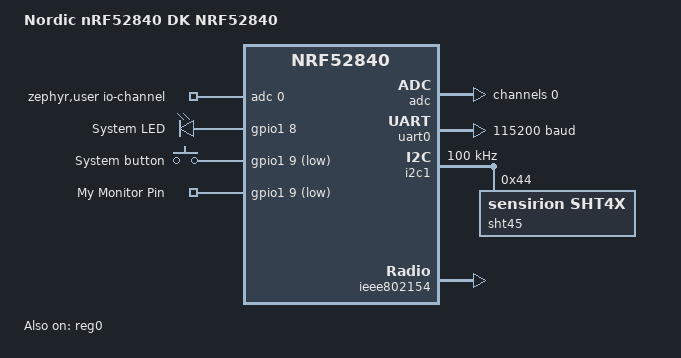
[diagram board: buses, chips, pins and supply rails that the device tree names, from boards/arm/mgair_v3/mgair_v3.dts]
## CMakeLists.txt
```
cmake_minimum_required(VERSION 3.20.0)

list(APPEND BOARD_ROOT ${CMAKE_CURRENT_SOURCE_DIR})

find_package(Zephyr)
project(mgairfw)

include_directories(src)
target_sources(app PRIVATE src/main.cpp src/bleln/BLELNBase.cpp src/bleln/BLELNBase.h src/bleln/BLELNClient.h
        src/bleln/BLELNClient.cpp src/bleln/BLELNConnCtx.cpp src/bleln/BLELNConnCtx.h
        src/bleln/BLELNServer.cpp src/bleln/BLELNServer.h
        src/Connectivity/ConnectivityConfig.h src/Connectivity/ConnectivityConfig.cpp
        src/Connectivity/ConnectivityClient.h src/Connectivity/ConnectivityClient.cpp
        src/SuperString.h src/SuperString.cpp src/bleln/BLELNAuthentication.h src/bleln/BLELNAuthentication.cpp
        src/bleln/Encryption.cpp src/bleln/Encryption.h src/bleln/BLELNCert.cpp src/bleln/BLELNCert.h
        src/bleln/BLELNSessionEnc.cpp src/bleln/BLELNSessionEnc.h src/DeviceConfig.h src/DeviceConfig.cpp src/Sht45Sensor.h
        src/Sht45Sensor.cpp)
```

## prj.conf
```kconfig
CONFIG_CPP=y
CONFIG_REQUIRES_FULL_LIBCPP=y
CONFIG_STD_CPP17=y
CONFIG_NEWLIB_LIBC=y
CONFIG_NEWLIB_LIBC_FLOAT_PRINTF=y

CONFIG_INIT_STACKS=y
CONFIG_THREAD_STACK_INFO=y
CONFIG_THREAD_MONITOR=y

CONFIG_MAIN_STACK_SIZE=8192
CONFIG_SYSTEM_WORKQUEUE_STACK_SIZE=4096
CONFIG_HEAP_MEM_POOL_SIZE=32768
CONFIG_BT_RX_STACK_SIZE=4096

CONFIG_GPIO=y

CONFIG_BOOTLOADER_MCUBOOT=y
CONFIG_MCUBOOT_SIGNATURE_KEY_FILE="root-rsa-2048.pem"

CONFIG_FLASH=y
CONFIG_FLASH_PAGE_LAYOUT=y
CONFIG_FLASH_MAP=y

CONFIG_NVS=y
CONFIG_SETTINGS=y
CONFIG_SETTINGS_NVS=y
CONFIG_SETTINGS_NONE=n

CONFIG_NORDIC_SECURITY_BACKEND=y
CONFIG_MBEDTLS_CTR_DRBG_C=y
CONFIG_MBEDTLS=y
CONFIG_MBEDTLS_ENABLE_HEAP=y
CONFIG_MBEDTLS_HEAP_SIZE=32000
CONFIG_MBEDTLS_ECDH_C=y
CONFIG_MBEDTLS_ECDSA_C=y
CONFIG_MBEDTLS_GCM_C=y
CONFIG_MBEDTLS_SHA256_C=y
CONFIG_MBEDTLS_ECP_C=y
CONFIG_MBEDTLS_ENTROPY_C=y
CONFIG_ENTROPY_GENERATOR=y
CONFIG_ENTROPY_NRF5_RNG=y
CONFIG_MBEDTLS_MAC_SHA256_ENABLED=y

CONFIG_ADC=y

CONFIG_BT=y
CONFIG_BT_ID_MAX=2
CONFIG_BT_MAX_CONN=3
CONFIG_BT_MAX_PAIRED=3
CONFIG_BT_PERIPHERAL=y
CONFIG_BT_DEVICE_NAME="NimBLE nRF52840"
CONFIG_BT_CENTRAL=y
CONFIG_BT_GATT_CLIENT=y
CONFIG_BT_SMP=y
CONFIG_BT_PRIVACY=y
CONFIG_BT_GATT_SERVICE_CHANGED=y
CONFIG_BT_GATT_AUTO_DISCOVER_CCC=y
CONFIG_BT_SETTINGS=y
CONFIG_BT_GATT_NOTIFY_MULTIPLE=y
CONFIG_BT_L2CAP_TX_BUF_COUNT=10
CONFIG_BT_L2CAP_TX_MTU=247
CONFIG_BT_BUF_ACL_RX_SIZE=251

CONFIG_INIT_STACKS=y
CONFIG_REBOOT=y

CONFIG_HW_STACK_PROTECTION=y

CONFIG_DEBUG_COREDUMP=n
CONFIG_DEBUG_COREDUMP_BACKEND_LOGGING=n
CONFIG_LOG_MODE_DEFERRED=y
CONFIG_PM=y
CONFIG_PM_DEVICE=y
CONFIG_TICKLESS_KERNEL=y

CONFIG_HWINFO=y

CONFIG_I2C=y
CONFIG_SENSOR=y
CONFIG_SHT4X=y
CONFIG_CBPRINTF_FP_SUPPORT=y
```

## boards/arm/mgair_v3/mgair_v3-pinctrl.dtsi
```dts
/*
 * Copyright (c) 2022 Nordic Semiconductor
 * SPDX-License-Identifier: Apache-2.0
 */

&pinctrl {
	i2c1_default: i2c1_default {
		group1 {
			psels = <NRF_PSEL(TWIM_SDA, 0, 11)>,
				<NRF_PSEL(TWIM_SCL, 0, 12)>;
		};
	};

	i2c1_sleep: i2c1_sleep {
		group1 {
			psels = <NRF_PSEL(TWIM_SDA, 0, 11)>,
				<NRF_PSEL(TWIM_SCL, 0, 12)>;
			low-power-enable;
		};
	};

	uart0_default: uart0_default {
		group1 {
			psels = <NRF_PSEL(UART_TX, 0, 0)>;
		};

		group2 {
			psels = <NRF_PSEL(UART_RX, 0, 1)>;
			bias-pull-up;
		};
	};

	uart0_sleep: uart0_sleep {
		group1 {
			psels = <NRF_PSEL(UART_TX, 0, 0)>,
					<NRF_PSEL(UART_RX, 0, 1)>;
			low-power-enable;
		};
	};
};
```

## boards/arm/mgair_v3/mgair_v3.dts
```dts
/dts-v1/;
#include <nordic/nrf52840_qiaa.dtsi>
#include "mgair_v3_partition.dtsi"
#include "mgair_v3-pinctrl.dtsi"
#include <zephyr/dt-bindings/input/input-event-codes.h>
#include <zephyr/dt-bindings/adc/adc.h>
#include <zephyr/dt-bindings/adc/nrf-adc.h>

/ {
	model = "Nordic nRF52840 DK NRF52840";
	compatible = "dawidkulpa,mgair_v3";

	chosen {
		zephyr,ieee802154 = &ieee802154;
		zephyr,console = &uart0;
		zephyr,shell-uart = &uart0;
		zephyr,uart-mcumgr = &uart0;
		zephyr,bt-mon-uart = &uart0;
		zephyr,bt-c2h-uart = &uart0;
	};

	zephyr,user {
		/* Mówimy: ten wirtualny użytkownik korzysta z kanału 0 w ADC */
		io-channels = <&adc 0>;
	};

	leds {
		compatible = "gpio-leds";

		led0: led_0 {
			gpios = <&gpio1 8 GPIO_ACTIVE_HIGH>;
			label = "System LED";
		};
	};

	buttons {
		compatible = "gpio-keys";

		button0: button_0 {
			gpios = <&gpio1 9 (GPIO_PULL_UP | GPIO_ACTIVE_LOW)>;
			label = "System button";
			zephyr,code = <INPUT_KEY_0>;
		};
	};

	my_inputs {
		compatible = "gpio-keys";

		pin_sensor: pin_sensor_0 {
			gpios = <&gpio1 9 (GPIO_ACTIVE_LOW | GPIO_PULL_UP)>;
			label = "My Monitor Pin";
		};
	};

	/* These aliases are provided for compatibility with samples */
	aliases {
		led0 = &led0;
		sw0 = &button0;
		mcuboot-button0 = &button0;
		mcuboot-led0 = &led0;
		watchdog0 = &wdt0;
		my-input-pin = &pin_sensor;
	};
};

&reg0 {
	status = "okay";
};

&reg1 {
	regulator-initial-mode = <NRF5X_REG_MODE_DCDC>;
};

&adc {
	status = "okay";
	#address-cells = <1>;
	#size-cells = <0>;

	channel@0 {
		reg = <0>;
		zephyr,gain = "ADC_GAIN_1_6";
		zephyr,reference = "ADC_REF_INTERNAL";
		zephyr,acquisition-time = <ADC_ACQ_TIME(ADC_ACQ_TIME_MICROSECONDS, 40)>;
		zephyr,input-positive = <NRF_SAADC_AIN3>;

		zephyr,resolution = <12>;
	};
};

&uicr {
	gpio-as-nreset;
};

&gpiote {
	status = "okay";
};

&gpio0 {
	status = "okay";
};

&gpio1 {
	status = "okay";
};

&uart0 {
	compatible = "nordic,nrf-uarte";
	status = "okay";
	current-speed = <115200>;
	pinctrl-0 = <&uart0_default>;
	pinctrl-1 = <&uart0_sleep>;
	pinctrl-names = "default", "sleep";
};

&i2c1 {
	compatible = "nordic,nrf-twim";
	status = "okay";

	clock-frequency = <I2C_BITRATE_STANDARD>;
	pinctrl-0 = <&i2c1_default>;
	pinctrl-1 = <&i2c1_sleep>;
	pinctrl-names = "default", "sleep";

	sht45: sht45@44 {
		compatible = "sensirion,sht4x";
		reg = <0x44>;
		repeatability = <2>; /* 2 = High precision */
	};
};

&ieee802154 {
	status = "okay";
};
```

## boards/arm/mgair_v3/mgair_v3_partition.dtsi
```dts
/*
 * Copyright (c) 2024 Jacob Winther
 *
 * SPDX-License-Identifier: Apache-2.0
 */

/ {
	chosen {
		zephyr,sram = &sram0;
		zephyr,flash = &flash0;
		zephyr,code-partition = &slot0_partition;
	};
};

&flash0 {
	partitions {
		compatible = "fixed-partitions";
		#address-cells = <1>;
		#size-cells = <1>;

		boot_partition: partition@0 {
			label = "mcuboot";
			reg = <0x00000000 0x0000C000>;
		};

		slot0_partition: partition@c000 {
			label = "image-0";
			reg = <0x0000C000 0x00076000>;
		};

		slot1_partition: partition@82000 {
			label = "image-1";
			reg = <0x00082000 0x00076000>;
		};

		/*
		 * Storage partition: 16KB
		 * Used by NVS (UID, Picklock)
		 * Address: 0xF8000 - 0xFC000
		 */
		storage_partition: partition@f8000 {
			label = "storage";
			reg = <0x000f8000 0x00004000>;
		};

		/*
		 * Factory Data partition: 16KB
		 * Used for RAW Read of Keys, Certs, MAC
		 * Address: 0xFC000 - End of Flash
		 */
		factory_partition: partition@fc000 {
			label = "factory-data";
			reg = <0x000fc000 0x00004000>;
			read-only; /* Zabezpieczenie przed przypadkowym zapisem przez aplikację */
		};
	};
};
```

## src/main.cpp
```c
/*
 * Copyright (c) 2016 Intel Corporation
 *
 * SPDX-License-Identifier: Apache-2.0
 *
 */

#include <cstdio>
#include <zephyr/kernel.h>
#include <zephyr/drivers/gpio.h>
#include <nrfx.h>
#include "Connectivity/ConnectivityConfig.h"
#include "Connectivity/ConnectivityClient.h"
#include "DeviceConfig.h"
#include "Sht45Sensor.h"
#include <zephyr/drivers/adc.h>
#include <zephyr/devicetree.h>
#include <zephyr/bluetooth/addr.h>
#include <zephyr/bluetooth/bluetooth.h>
#include <zephyr/settings/settings.h>
#include <zephyr/pm/device.h>

static const struct device *const uart_dev = DEVICE_DT_GET(DT_CHOSEN(zephyr_console));
static const struct gpio_dt_spec led = GPIO_DT_SPEC_GET(DT_ALIAS(led0), gpios);
static const struct adc_dt_spec adc_channel = ADC_DT_SPEC_GET(DT_PATH(zephyr_user));
static const struct gpio_dt_spec btn_pin = GPIO_DT_SPEC_GET(DT_ALIAS(my_input_pin), gpios);
static const struct device *const i2c_dev = DEVICE_DT_GET(DT_NODELABEL(i2c1));

K_SEM_DEFINE(wake_sem, 0, 1);

enum class SequenceState {MeasureBattery, MeasureAir, WaitingForBT, WaitingForAPIResponse, Finished};

static struct gpio_callback button_cb_data;

void button_pressed(const struct device *dev, struct gpio_callback *cb, uint32_t pins) {
    k_sem_give(&wake_sem);
}


void printHello();
int32_t measureBattery(struct adc_sequence &seq);
void sleepFor(uint16_t seconds);


int main(void)
{

    int err;
    int ret;

    int16_t buf;
    struct adc_sequence adcSequence = {
            .buffer = &buf,
            .buffer_size = sizeof(buf),
    };

    // Configure system LED
    if (!gpio_is_ready_dt(&led)) {
        return 0;
    }
    ret = gpio_pin_configure_dt(&led, GPIO_OUTPUT_ACTIVE);
    if (ret < 0) {
        return 0;
    }

    // Enable BLE
    bt_enable(nullptr);

    // Load devices config
    DeviceConfig::registerConfig();
    devicesConfig.loadFactoryData();
    settings_load();

    // Print Hello!
    printHello();

    // Config devices button
    if (!gpio_is_ready_dt(&btn_pin)) {
        printk("[E] main - Button port not ready\n");
        return 0;
    }
    ret = gpio_pin_configure_dt(&btn_pin, GPIO_INPUT);
    if (ret != 0) {
        printk("[E] main - Could not configure button pin\n");
        return 0;
    }

    if(gpio_pin_get_dt(&btn_pin)==1){
        printk("[W] main - Factory reset!\n");
        devicesConfig.factoryReset();
    }

    printk("Button: %d\n", gpio_pin_get_dt(&btn_pin));

    // Config ADC for battery measurement
	if (!adc_is_ready_dt(&adc_channel)) {
        printk("[E] main - ADC controller not ready\n");
        return 0;
    }
    err = adc_channel_setup_dt(&adc_channel);
    if (err < 0) {
        printk("[E] main - ADC setup failed: %d\n", err);
        return 0;
    }
    err = adc_sequence_init_dt(&adc_channel, &adcSequence);
    if (err < 0) {
        printk("[E] main - ADC sequence init failed: %d\n", err);
        return 0;
    }

    // Config wakeup interrupt
    gpio_pin_interrupt_configure_dt(&btn_pin, GPIO_INT_EDGE_TO_ACTIVE);
    gpio_init_callback(&button_cb_data, button_pressed, BIT(btn_pin.pin));
    gpio_add_callback(btn_pin.port, &button_cb_data);

    uint8_t devMode= DEVICE_MODE_NORMAL;
    if(devicesConfig.getUid()=="-1"){
        devMode= DEVICE_MODE_CONFIG;
    }

    if(devMode==DEVICE_MODE_NORMAL){
        bool sht45Works= true;
        Sht45Sensor airSensor;
        int sequenceCnt=0;
        if (!airSensor.init()) {
            sht45Works= false;
            printk("[E] main - failed sht45 init!\n");
        }

        SequenceState sequenceState;

        ConnectivityClient::init([&sequenceState](int reqId, int errc, int httpCode, const std::string &msg){
            if(sequenceState==SequenceState::WaitingForAPIResponse){
                printk("[D] main - API response: id %d, errc %d, httpc %d, body: %s\n", reqId, errc, httpCode, msg.c_str());
                sequenceState= SequenceState::Finished;
            } else {
                printk("[W] main - Received API response but not waiting for response\n");
            }
        });

        k_sleep(K_SECONDS(3));

        while(1){ // Every loop iteration is one measurement-send-sleep sequence
            sequenceCnt++;
            printk("[I] main - Starting sequence no. %d", sequenceCnt);
            gpio_pin_set_dt(&led, 1);
            sequenceState = SequenceState::MeasureBattery;
            int64_t sequenceStart= k_uptime_get();
            bool runSequence= true;

            double airHumiditySum= 0.0;
            double airTemperatureSum= 0.0;
            uint8_t airMesCnt=10;
            uint8_t airMesMaxTries= 50;

            int32_t batteryMesSum=0;
            uint8_t batteryMesCnt=10;

            k_sleep(K_MSEC(10));
            ConnectivityClient::start();
            k_sleep(K_MSEC(10));
            ConnectivityClient::startServerSearch(30000);

            while(runSequence){
                if(sequenceState== SequenceState::MeasureBattery){
                    batteryMesSum+= measureBattery(adcSequence);
                    batteryMesCnt--;
                    k_sleep(K_MSEC(20));

                    if(batteryMesCnt==0){
                        gpio_pin_set_dt(&led, 0);
                        sequenceState= SequenceState::MeasureAir;
                    }
                } else if(sequenceState== SequenceState::MeasureAir){
                    if(sht45Works){
                        double humB;
                        double tempB;
                        if(airSensor.read(tempB, humB)){
                            airHumiditySum+= humB;
                            airTemperatureSum+= tempB;
                            airMesCnt--;
                        }
                        k_sleep(K_MSEC(20));

                        airMesMaxTries--;

                        if(airMesMaxTries==0 or airMesCnt==0){
                            sequenceState= SequenceState::WaitingForBT;
                        }
                    } else {
                        sequenceState= SequenceState::WaitingForBT;
                    }
                } else if(sequenceState== SequenceState::WaitingForBT){
                    if(ConnectivityClient::isConnected()){
                        k_sleep(K_MSEC(2));
                        sequenceState= SequenceState::WaitingForAPIResponse;
                        char data[100];
                        snprintf(data, 100, R"("{"ah":%.1f,"at":%.1f,"btry":%d,"fv":%d}")",
                                 airHumiditySum/(10-airMesCnt),
                                 airTemperatureSum/(10-airMesCnt),
                                 (batteryMesSum/10)*2, fw_version);
                        ConnectivityClient::startAPITalk("device/air/post-data", 'P', data);
                    } else{
                        if((k_uptime_get()-sequenceStart) > 30000){
                            sequenceState= SequenceState::Finished;
                        }
                    }
                    k_sleep(K_MSEC(20));
                } else if(sequenceState== SequenceState::WaitingForAPIResponse){
                    if((k_uptime_get()-sequenceStart) > 40000){
                        sequenceState= SequenceState::Finished;
                    }
                    k_sleep(K_MSEC(20));
                } else if(sequenceState== SequenceState::Finished){
                    printk("[D] main - sequence finished in %llu ms\n", k_uptime_get()-sequenceStart);
                    runSequence= false;
                }
            }

            // if timeout - kill bluetooth
            ConnectivityClient::stop();


            //Go to sleep
            printk("[D] main - time to sleep...\n");
            sleepFor(20);
        }
    } else {
        ConnectivityConfig::init();
        ConnectivityConfig::start();

        while(1) {
            gpio_pin_toggle_dt(&led);
            k_sleep(K_SECONDS(3));
        }
    }
}

void printHello(){
    std::string out;
    bt_addr_le_t mac;
    size_t count = 1;
    bt_id_get(&mac, &count);

    printk("MioGiapicco Air Firmware  Copyright (C) 2026  Dawid Kulpa\n");
    printk("This program comes with ABSOLUTELY NO WARRANTY;\n");
    printk("This is free software, and you are welcome to redistribute it under certain conditions;\n");
    printk("You should have received a copy of the GNU General Public License along with this program. If not, see <http://www.gnu.org/licenses/>.\n");
    printk("Hardware code: %d, Firmware code: %d, MAC: %02X:%02X:%02X:%02X:%02X:%02X\r\n",
           hw_id, fw_version,
           mac.a.val[5], mac.a.val[4], mac.a.val[3],
           mac.a.val[2], mac.a.val[1], mac.a.val[0]);
}

int32_t measureBattery(struct adc_sequence &seq){
    int err = adc_read_dt(&adc_channel, &seq);
    int32_t val_mv;
    int16_t raw;

    if (err < 0) {
        printk("ADC read error: %d\n", err);
        val_mv= -1;
    } else {
        raw = *reinterpret_cast<int16_t*>(seq.buffer);
        val_mv= raw;

        // 6. Konwersja na mV
        err = adc_raw_to_millivolts_dt(&adc_channel, &val_mv);
        val_mv += 80;
        if (err < 0) {
            val_mv= -val_mv;
        }
    }

    return val_mv;
}

void sleepFor(uint16_t seconds){
    pm_device_action_run(uart_dev, PM_DEVICE_ACTION_SUSPEND);
    pm_device_action_run(i2c_dev, PM_DEVICE_ACTION_SUSPEND);
    k_sem_take(&wake_sem, K_SECONDS(seconds));
    pm_device_action_run(uart_dev, PM_DEVICE_ACTION_RESUME);
    pm_device_action_run(i2c_dev, PM_DEVICE_ACTION_RESUME);
}
```

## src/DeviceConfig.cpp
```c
/**
    MioGiapicco Light Firmware - Firmware for Light Device of MioGiapicco system
    Copyright (C) 2023  Dawid Kulpa

    This program is free software: you can redistribute it and/or modify
    it under the terms of the GNU General Public License as published by
    the Free Software Foundation, either version 3 of the License, or
    (at your option) any later version.

    This program is distributed in the hope that it will be useful,
    but WITHOUT ANY WARRANTY; without even the implied warranty of
    MERCHANTABILITY or FITNESS FOR A PARTICULAR PURPOSE.  See the
    GNU General Public License for more details.

    You should have received a copy of the GNU General Public License
    along with this program.  If not, see <http://www.gnu.org/licenses/>. 

    Please feel free to contact me at any time by email <dawidkulpadev@gmail.com>
*/

#include <zephyr/drivers/flash.h>
#include <algorithm>
#include <zephyr/bluetooth/addr.h>
#include <zephyr/bluetooth/bluetooth.h>
#include "DeviceConfig.h"
#include "bleln/Encryption.h"

DeviceConfig devicesConfig;


static struct settings_handler id_conf = {
        .name= DEVICECONFIG_NAMESPACE_ID,
        .h_set= DeviceConfig::id_settings_set
};

static struct settings_handler base_conf = {
        .name= DEVICECONFIG_NAMESPACE_BASE,
        .h_set= DeviceConfig::base_settings_set
};


struct __attribute__((packed)) factory_data_t {
    uint32_t magic;          // 0x4D474B50
    uint8_t  mac[6];
    uint8_t  _pad[2];
    uint8_t  manu_pub[64];
    uint8_t  dev_priv[32];
    uint8_t  dev_pub[64];
    uint8_t  signature[64];
};

DeviceConfig::DeviceConfig() {
    memset(certSign, 0, BLELN_MANU_SIGN_LEN);
    picklock= "";
    uid="-1";
    lastServerMAC="";
}

std::string DeviceConfig::getUid() const {
    return uid;
}

std::string DeviceConfig::getPicklock() {
    return picklock;
}

const uint8_t *DeviceConfig::getCertSign() const {
    return certSign;
}

void DeviceConfig::setUid(std::string v) {
    uid= std::move(v);
}

void DeviceConfig::setPicklock(std::string v) {
    picklock= std::move(v);
}

void DeviceConfig::setCertSignFromBase64(const std::string& b64) {
    Encryption::base64Decode(b64, certSign, BLELN_MANU_SIGN_LEN);
}

const uint8_t *DeviceConfig::getManuPubKey() const {
    return manuPubKey;
}

const uint8_t *DeviceConfig::getMyPrivateKey() const {
    return myPrivateKey;
}

const uint8_t *DeviceConfig::getMyPublicKey() const {
    return myPublicKey;
}

void DeviceConfig::loadFactoryData() {
    if (factoryDataLoaded) return;

    const struct device *flash_dev = DEVICE_DT_GET(DT_CHOSEN(zephyr_flash_controller));
    struct factory_data_t data{};

    if (!device_is_ready(flash_dev)) {
        printk("[Factory] Flash device not ready\n");
        return;
    }

    int rc = flash_read(flash_dev, FACTORY_DATA_ADDR, &data, sizeof(data));
    if (rc != 0 || data.magic != 0x4D474B50) {
        printk("[Factory] Invalid data at 0x%X (Magic: 0x%08X)\n", FACTORY_DATA_ADDR, data.magic);
        return;
    }

    // Kopiowanie do buforów klasy
    memcpy(manuPubKey, data.manu_pub, BLELN_MANU_PUB_KEY_LEN);
    memcpy(myPrivateKey, data.dev_priv, BLELN_DEV_PRIV_KEY_LEN);
    memcpy(myPublicKey, data.dev_pub, BLELN_DEV_PUB_KEY_LEN);
    memcpy(factoryCertSign, data.signature, BLELN_MANU_SIGN_LEN);

    bool certIsZero= std::all_of(std::begin(certSign), std::end(certSign), [](int i){
        return i==0;
    });

    if(certIsZero){
        memcpy(certSign, factoryCertSign, BLELN_MANU_SIGN_LEN);
    }

    factoryDataLoaded = true;
    printk("[Factory] Keys loaded successfully from Flash.\n");
}

bool DeviceConfig::registerConfig() {
    settings_register(&id_conf);
    settings_register(&base_conf);

    return true;
}


void DeviceConfig::writeIdConfig() {
    settings_save_one(DEVICECONFIG_NAMESPACE_ID "/" DEVICECONFIG_KEY_UID,
                      uid.c_str(), uid.size()+1);
    settings_save_one(DEVICECONFIG_NAMESPACE_ID "/" DEVICECONFIG_KEY_PICKLOCK,
                      picklock.c_str(), picklock.size()+1);
    settings_save_one(DEVICECONFIG_NAMESPACE_ID "/" DEVICECONFIG_KEY_CERTSIGN,
                      certSign, BLELN_MANU_SIGN_LEN);
}

void DeviceConfig::factoryReset() {
    settings_delete(DEVICECONFIG_NAMESPACE_ID "/" DEVICECONFIG_KEY_UID);
    settings_delete(DEVICECONFIG_NAMESPACE_ID "/" DEVICECONFIG_KEY_PICKLOCK);
    settings_save_one(DEVICECONFIG_NAMESPACE_ID "/" DEVICECONFIG_KEY_CERTSIGN,
                      factoryCertSign, BLELN_MANU_SIGN_LEN);
}

int DeviceConfig::id_settings_set(const char *name, size_t len,
                                  settings_read_cb read_cb, void *cb_arg){
    return devicesConfig.processIdConfigRead(name, len, read_cb, cb_arg);
}

int DeviceConfig::base_settings_set(const char *name, size_t len, settings_read_cb read_cb, void *cb_arg) {
    return devicesConfig.processBaseConfigRead(name, len, read_cb, cb_arg);
}

int DeviceConfig::processIdConfigRead(const char *name, size_t len,
                                      settings_read_cb read_cb, void *cb_arg) {
    const char *next;
    int rc;

    if (settings_name_steq(name, DEVICECONFIG_KEY_UID, &next) && !next) {
        char buf[32];
        rc = read_cb(cb_arg, buf, len);
        printk("userId: %s\n", buf);
        if (rc > 0) {
            uid= buf;
            return 0;
        }

        uid= "-1";
        return rc;
    } else if (settings_name_steq(name, DEVICECONFIG_KEY_PICKLOCK, &next) && !next) {
        char buf[256];
        rc = read_cb(cb_arg, buf, len);
        if (rc > 0) {
            picklock= buf;
            return 0;
        }

        picklock= "";
        return rc;
    } else if (settings_name_steq(name, DEVICECONFIG_KEY_CERTSIGN, &next) && !next) {
        rc = read_cb(cb_arg, certSign, BLELN_MANU_SIGN_LEN);
        if (rc > 0) {
            return 0;
        }

        return rc;
    }


    return -ENOENT;
}

int DeviceConfig::processBaseConfigRead(const char *name, size_t len, settings_read_cb read_cb, void *cb_arg) {
    const char *next;
    int rc;

    if (settings_name_steq(name, DEVICECONFIG_KEY_LAST_SERVER_MAC, &next) && !next) {
        char buf[32];
        rc = read_cb(cb_arg, buf, len);
        if (rc > 0) {
            lastServerMAC= buf;
            return 0;
        }

        lastServerMAC= "";
        return rc;
    }


    return -ENOENT;
}

std::string DeviceConfig::getLastServerMAC() {
    return lastServerMAC;
}

void DeviceConfig::setLastServerMAC(std::string mac) {
    lastServerMAC= std::move(mac);
}

std::string DeviceConfig::getMyMAC() {
    bt_addr_le_t mac;
    size_t count = 1;
    bt_id_get(&mac, &count);

    char b[16];
    sprintf(b, "%02X%02X%02X%02X%02X%02X",mac.a.val[5], mac.a.val[4], mac.a.val[3],
            mac.a.val[2], mac.a.val[1], mac.a.val[0]);

    return b;
}
```

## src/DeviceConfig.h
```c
/**
    MioGiapicco Light Firmware - Firmware for Light Device of MioGiapicco system
    Copyright (C) 2023  Dawid Kulpa

    This program is free software: you can redistribute it and/or modify
    it under the terms of the GNU General Public License as published by
    the Free Software Foundation, either version 3 of the License, or
    (at your option) any later version.

    This program is distributed in the hope that it will be useful,
    but WITHOUT ANY WARRANTY; without even the implied warranty of
    MERCHANTABILITY or FITNESS FOR A PARTICULAR PURPOSE.  See the
    GNU General Public License for more details.

    You should have received a copy of the GNU General Public License
    along with this program.  If not, see <http://www.gnu.org/licenses/>. 

    Please feel free to contact me at any time by email <dawidkulpadev@gmail.com>
*/

#ifndef UNTITLED_DEVICECONFIG_H
#define UNTITLED_DEVICECONFIG_H

#include "bleln/BLELNBase.h"

#define DEVICECONFIG_NAMESPACE_BASE "base"


#define DEVICECONFIG_NAMESPACE_ID   "id"
#define DEVICECONFIG_KEY_UID        "uid"
#define DEVICECONFIG_KEY_PICKLOCK   "picklock"
#define DEVICECONFIG_KEY_CERTSIGN   "certsign"
#define DEVICECONFIG_KEY_LAST_SERVER_MAC    "lsm"


#define FACTORY_DATA_ADDR 0xFC000

class DeviceConfig {
public:
    static int id_settings_set(const char *name, size_t len,
                               settings_read_cb read_cb, void *cb_arg);
    static int base_settings_set(const char *name, size_t len,
                                 settings_read_cb read_cd, void *cb_arg);

    DeviceConfig();

    // base
    std::string getLastServerMAC();
    void setLastServerMAC(std::string mac);

    // id
    std::string getUid() const;
    std::string getPicklock();
    const uint8_t* getCertSign() const;

    void setUid(std::string v);
    void setPicklock(std::string v);
    void setCertSignFromBase64(const std::string& b64);

    // cert
    const uint8_t* getManuPubKey() const;
    const uint8_t* getMyPrivateKey() const;
    const uint8_t* getMyPublicKey() const;

    static std::string getMyMAC();


    static bool registerConfig();
    int processIdConfigRead(const char *name, size_t len,
                            settings_read_cb read_cb, void *cb_arg);
    int processBaseConfigRead(const char *name, size_t len,
                            settings_read_cb read_cb, void *cb_arg);

    void writeIdConfig();


    void loadFactoryData();

    void factoryReset();

private:

    // id
    std::string lastServerMAC;
    std::string uid;
    std::string picklock;
    uint8_t certSign[BLELN_MANU_SIGN_LEN]{};

    // cert
    uint8_t factoryCertSign[BLELN_MANU_SIGN_LEN]{};
    uint8_t manuPubKey[BLELN_MANU_PUB_KEY_LEN]{};
    uint8_t myPrivateKey[BLELN_DEV_PRIV_KEY_LEN]{};
    uint8_t myPublicKey[BLELN_DEV_PUB_KEY_LEN]{};

    bool factoryDataLoaded = false;
};

extern DeviceConfig devicesConfig;


#endif //UNTITLED_DEVICECONFIG_H
```

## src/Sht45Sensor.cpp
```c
#include "Sht45Sensor.h"

#define SHT45_NODE DT_NODELABEL(sht45)

Sht45Sensor::Sht45Sensor() : dev(nullptr) {
}

bool Sht45Sensor::init() {
    dev = DEVICE_DT_GET(SHT45_NODE);

    if (!device_is_ready(dev)) {
        printk("[E] Sht45Sensor - Device is not ready!\n");
        return false;
    }

    return true;
}

bool Sht45Sensor::read(double &out_temp, double &out_hum) {
    if (dev == nullptr) {
        printk("NULL\n");
        return false;
    }

    int ret = sensor_sample_fetch(dev);
    if (ret < 0) {
        printk("RET0: %d\n", ret);
        return false;
    }

    struct sensor_value temp_val, hum_val;

    ret = sensor_channel_get(dev, SENSOR_CHAN_AMBIENT_TEMP, &temp_val);
    if (ret < 0) {
        printk("RET1: %d\n", ret);
        return false;
    }

    ret = sensor_channel_get(dev, SENSOR_CHAN_HUMIDITY, &hum_val);
    if (ret < 0) {
        printk("RET2: %d\n", ret);
        return false;
    }

    out_temp = sensor_value_to_double(&temp_val);
    out_hum = sensor_value_to_double(&hum_val);

    return true;
}
```

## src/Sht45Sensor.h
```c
//
// Created by dkulpa on 18.02.2026.
//

#ifndef MGAIRFW_SHT45SENSOR_H
#define MGAIRFW_SHT45SENSOR_H

#include <zephyr/kernel.h>
#include <zephyr/drivers/sensor.h>
#include <zephyr/device.h>

class Sht45Sensor {
public:

    Sht45Sensor();
    bool init();
    bool read(double &out_temp, double &out_hum);

private:
    const struct device *dev;
};


#endif //MGAIRFW_SHT45SENSOR_H
```

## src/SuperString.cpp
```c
/**
    MioGiapicco Light Firmware - Firmware for Light Device of MioGiapicco system
    Copyright (C) 2026  Dawid Kulpa

    This program is free software: you can redistribute it and/or modify
    it under the terms of the GNU General Public License as published by
    the Free Software Foundation, either version 3 of the License, or
    (at your option) any later version.

    This program is distributed in the hope that it will be useful,
    but WITHOUT ANY WARRANTY; without even the implied warranty of
    MERCHANTABILITY or FITNESS FOR A PARTICULAR PURPOSE.  See the
    GNU General Public License for more details.

    You should have received a copy of the GNU General Public License
    along with this program.  If not, see <http://www.gnu.org/licenses/>.

    Please feel free to contact me at any time by email <dawidkulpadev@gmail.com>
*/

#include "SuperString.h"

StringList split(const std::string &s, char d){
    StringList parts;
    size_t prevPos=0;
    size_t pos = 0;

    while (pos!=s.length() and (pos = s.find(d, prevPos)) != std::string::npos) {
        std::string part= s.substr(prevPos, pos-prevPos);
        prevPos= pos+1;
        parts.emplace_back(part);
    }

    if(pos!=s.length()){
        std::string part= s.substr(prevPos);
        parts.emplace_back(part);
    }

    return parts;
}

StringList splitCsvRespectingQuotes(const std::string& s, char delim) {
    std::vector<std::string> out;
    std::string cur;
    bool inQuotes = false;
    bool startedWithQuote = false;

    const size_t n = s.size();
    for (size_t i = 0; i < n; ++i) {
        char ch = s[i];

        if (inQuotes) {
            if (ch == '"') {
                bool nextIsSepOrEnd = (i + 1 == n) || (s[i + 1] == delim);
                if (nextIsSepOrEnd) {
                    inQuotes = false;
                    continue;
                } else {
                    cur.push_back('"');
                }
            } else {
                cur.push_back(ch);
            }
        } else {
            if (ch == delim) {
                out.push_back(cur);
                cur.clear();
                startedWithQuote = false;
            } else if (ch == '"' && cur.empty()) {
                inQuotes = true;
                startedWithQuote = true;
            } else {
                cur.push_back(ch);
            }
        }
    }

    if (inQuotes && startedWithQuote) {
        cur.insert(cur.begin(), '"');
    }
    out.push_back(cur);
    return out;
}

void removeLeading(std::string &s, const std::string &l){
    if(s.length()>0) {
        bool found = true;
        size_t end = 0;

        while (found and end < s.length()) {
            found = false;
            for (auto c: l) {
                if (s[end] == c) {
                    found = true;
                    break;
                }
            }
            end++;
        }

        if(end>1){
            std::string a = s.substr(end - 1);
            s = a;
        }
    }
}

void removeLeading(std::string &s, char c){
    if(s.length()>0) {
        size_t end = 0;

        while ((s[end]==c) and end < s.length()) {
            end++;
        }

        if(end>0) {
            std::string a = s.substr(end);
            s = a;
        }
    }
}

void removeTrailing(std::string &s, const std::string &l){
    if(s.length()>0) {
        bool found = true;
        size_t end = s.length() - 1;

        while (found && end > 0) {
            found = false;
            for (auto c: l) {
                if (s[end] == c) {
                    found = true;
                    break;
                }
            }
            end--;
        }

        if(end<(s.length()-2)) {
            std::string a = s.substr(0, end + 2);
            s = a;
        }
    }
}

void removeTrailing(std::string &s, char c){
    if(s.length()>0) {
        size_t end = s.length() - 1;

        while ((s[end]==c) and end > 0) {
            end--;
        }

        if(end<(s.length()-1)) {
            std::string a = s.substr(0, end + 1);
            s = a;
        }
    }
}
```

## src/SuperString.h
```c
//
// Created by dkulpa on 11.10.2023.
//

#ifndef SUPERVISOR_SUPERSTRING_H
#define SUPERVISOR_SUPERSTRING_H


#include <vector>
#include <string>

typedef std::vector<std::string> StringList;

StringList split(const std::string &s, char d);
StringList splitCsvRespectingQuotes(const std::string& s);
void removeLeading(std::string &s, const std::string &l);
void removeLeading(std::string &s, char c);
void removeTrailing(std::string &s, const std::string &l);
void removeTrailing(std::string &s, char c);



#endif //SUPERVISOR_SUPERSTRING_H
```

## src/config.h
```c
//
// Created by dkulpa on 11.08.24.
//

#ifndef MGLIGHTFW_CONF_H
#define MGLIGHTFW_CONF_H

#define DEVICE_MODE_CONFIG             1
#define DEVICE_MODE_NORMAL             2



/**
 * Firmware version number - 32 bit number
 * (16-bit)hw_id, (16-bit, 15-0 bits)sw_version
 * Hardware id: (6-bit) hw type, (10-bit) hw type version
 *      Hardware type:
 *          * 1 - Light
 *          * 2 - Air?
 *          # 3 - Soil?
 * Software version: (5-bit) sw epoch, (7-bit) sw epoch version, (4-bit) sw epoch version fix
 */

#define BLE_NAME    "MioGiapicco Air Gen2"
#define BLELN_CONFIG_UUID           "e0611e96-d399-4101-8507-1f23ee392891"
#define BLELN_HTTP_REQUESTER_UUID   "952cb13b-57fa-4885-a445-57d1f17328fd"

constexpr uint32_t sw_epoch= 1;
constexpr uint32_t sw_epoch_version= 1;
constexpr uint32_t sw_epoch_version_fix= 1;
constexpr uint32_t sw_version= (sw_epoch << 11) | (sw_epoch_version << 4) | sw_epoch_version_fix;

#define HW_0_0

#ifdef HW_0_0
constexpr uint32_t hw_type= 2;
constexpr uint32_t hw_version= 1;
constexpr uint32_t hw_id= (hw_type<<10) | hw_version;

constexpr uint32_t fw_version= (hw_id << 16) | sw_version;
#endif


#endif //MGLIGHTFW_CONF_H
```
